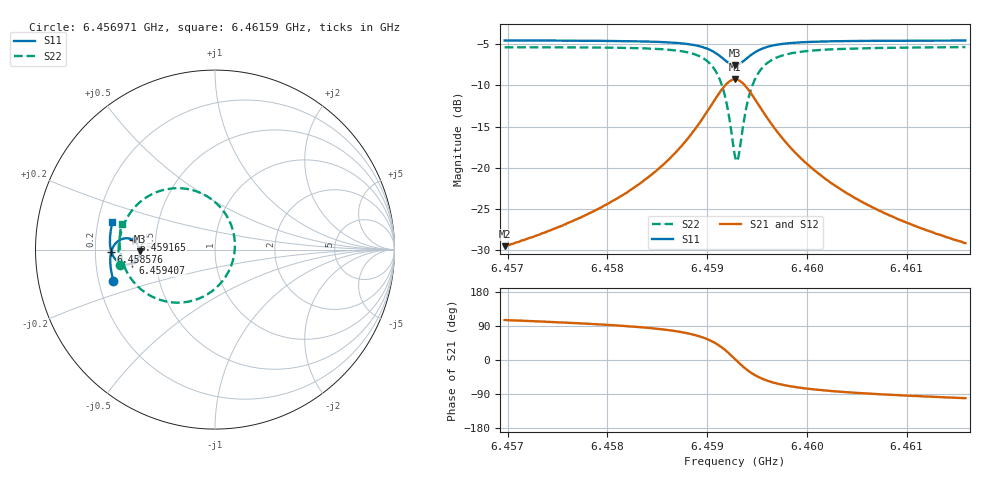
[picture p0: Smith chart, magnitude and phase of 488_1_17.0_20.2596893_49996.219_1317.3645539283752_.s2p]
#  HZ  S  RI  R  50.00
! Rohde & Schwarz Vector Network Analyzer
! Rohde-Schwarz,ZNB20-2Port,1311601062101988,3.16
! Created: UTC 3/20/2024, 11:13:57 PM
! freq[Hz]  re:S11  im:S11  re:S21  im:S21  re:S12  im:S12  re:S22  im:S22
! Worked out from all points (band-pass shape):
!   401 points, 6.456971 GHz to 6.46159 GHz, reference 50 ohm
!   highest |S21| = -9.27 dB at 6.45928 GHz (marker M1); lowest = -29.5 dB at 6.456971 GHz (marker M2)
!   |S21| within 3 dB of the highest: 6.459049 GHz to 6.459512 GHz (462.5 kHz wide, 0.00716 % of centre)
!   lowest |S11| = -7.6 dB at 6.45928 GHz (marker M3), VSWR 2.44, Z = 20.5 - j0.486 ohm
!   |S11| at or under -10 dB: nowhere
!   |S22| runs from -19.1 to -5.4 dB; largest |S21 - S12| = 0.013
!   S11 on the Smith chart (normalised r, x): 6.456971 GHz: 0.26, -0.14; 6.458576 GHz: 0.27, -0.01; 6.459165 GHz: 0.37, +0.05; 6.459407 GHz: 0.37, -0.07; 6.46159 GHz: 0.26, +0.12
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6.4569709e9  -0.5664 -0.1727  -0.00894 0.0323  -0.00718 0.0322  -0.5315 -0.0854
6.4577446e9  -0.5806 -0.105  -0.00558 0.0502  -0.00303 0.0496  -0.5373 0.00477
6.4581834e9  -0.5835 -0.061  0.00061 0.0703  0.00378 0.0689  -0.5286 0.0742
6.4585183e9  -0.5799 -0.0212  0.014 0.0982  0.0181 0.0955  -0.5039 0.1498
6.458576e9  -0.578 -0.0132  0.0183 0.1051  0.0224 0.1021  -0.4959 0.1662
6.4587839e9  -0.565 0.0188  0.0457 0.1374  0.0498 0.1325  -0.4447 0.239
6.458934e9  -0.5426 0.0453  0.0906 0.1677  0.094 0.1611  -0.3616 0.3034
6.4590726e9  -0.499 0.0628  0.1775 0.1845  0.1784 0.177  -0.2031 0.3423
6.459165e9  -0.4546 0.0529  0.2671 0.1536  0.2672 0.1477  -0.0373 0.2927
6.4592112e9  -0.4336 0.034  0.3105 0.111  0.312 0.1057  0.0455 0.2169
6.4592804e9  -0.4187 -0.00979  0.3437 0.0145  0.3475 0.00763  0.1106 0.0377
6.4593035e9  -0.4205 -0.0256  0.3418 -0.0207  0.3457 -0.029  0.1068 -0.0289
6.4593151e9  -0.4226 -0.0334  0.3383 -0.0378  0.3421 -0.0469  0.0995 -0.0615
6.4593613e9  -0.4381 -0.0594  0.31 -0.0976  0.312 -0.1093  0.0423 -0.1744
6.4594075e9  -0.4601 -0.0756  0.2681 -0.1386  0.2672 -0.1517  -0.0423 -0.2492
6.4594998e9  -0.5034 -0.0824  0.1835 -0.1697  0.1774 -0.1812  -0.2107 -0.2956
6.45965e9  -0.5471 -0.062  0.096 -0.156  0.0875 -0.1622  -0.3779 -0.2465
6.4598116e9  -0.5684 -0.0343  0.0512 -0.1282  0.0436 -0.131  -0.4581 -0.1745
6.4600541e9  -0.5811 0.00135  0.0222 -0.0968  0.0164 -0.0974  -0.5061 -0.0923
6.4604006e9  -0.5856 0.0424  0.00619 -0.07  0.00211 -0.0697  -0.5274 -0.0132
6.4608278e9  -0.5835 0.0853  -0.00148 -0.0515  -0.00421 -0.0508  -0.5316 0.055
6.46159e9  -0.5712 0.1527  -0.0065 -0.0344  -0.00831 -0.0335  -0.5202 0.1447
